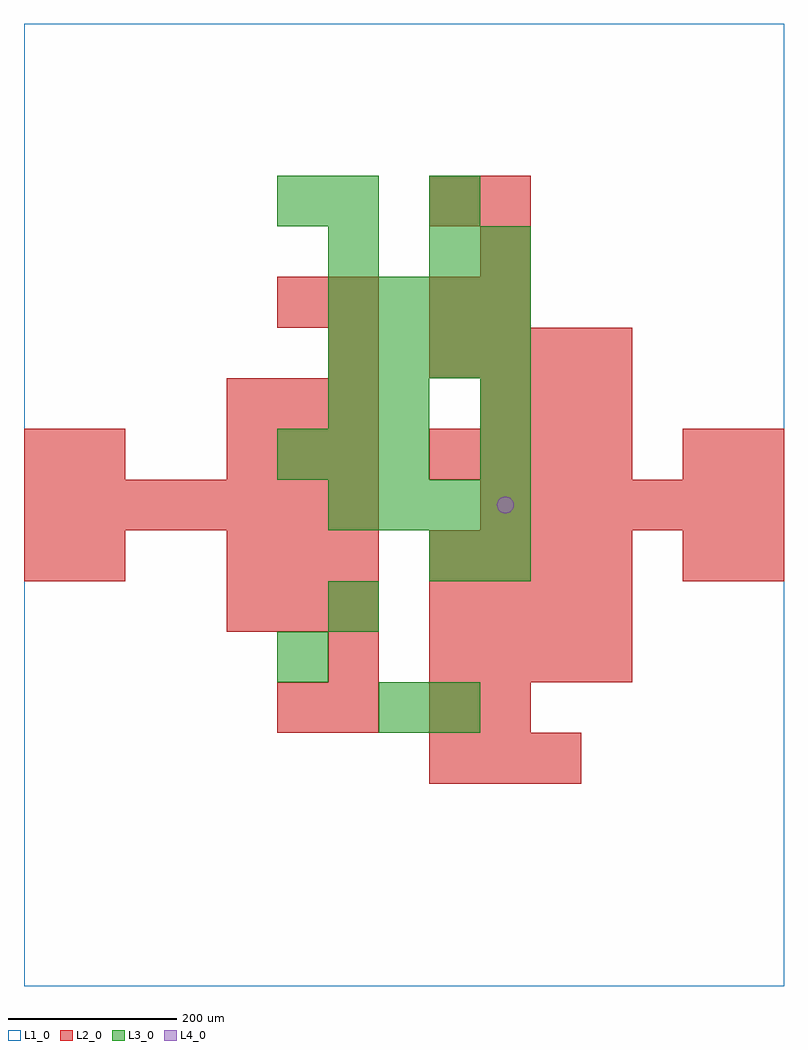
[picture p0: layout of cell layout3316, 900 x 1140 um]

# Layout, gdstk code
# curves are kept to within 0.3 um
import gdstk
lib = gdstk.Library(unit=1e-6, precision=1e-09)
def R(c, l, rs):  # rectangles x0, y0, x1, y1
    for r in rs: c.add(gdstk.rectangle(r[:2], r[2:], *l))
def A(c, l, x, y, w, h, nx, ny, dx, dy):  # array of equal rectangles
    R(c, l, [(x+i*dx, y+j*dy, x+i*dx+w, y+j*dy+h) for i in range(nx) for j in range(ny)])
def P(c, l, *ps):  # polygons
    for p in ps: c.add(gdstk.Polygon(p, *l))
L1_0 = (1, 0)
L2_0 = (2, 0)
L3_0 = (3, 0)
L4_0 = (4, 0)

layout3316 = lib.new_cell('layout3316')
R(layout3316, L1_0, [(0,0,900,1140)])
A(layout3316, L2_0, 480, 240, 60, 60, 3, 1, 60, 0)
A(layout3316, L2_0, 480, 360, 60, 60, 4, 3, 60, 60)
A(layout3316, L2_0, 240, 420, 60, 60, 3, 2, 60, 60)
A(layout3316, L2_0, 0, 540, 60, 60, 7, 1, 60, 0)
A(layout3316, L2_0, 540, 540, 60, 60, 6, 1, 60, 0)
A(layout3316, L2_0, 240, 600, 60, 60, 3, 2, 60, 60)
A(layout3316, L2_0, 480, 600, 60, 60, 4, 2, 60, 120)
A(layout3316, L2_0, 540, 660, 60, 60, 3, 1, 60, 0)
A(layout3316, L2_0, 540, 780, 60, 60, 1, 3, 0, 60)
R(layout3316, L2_0, [(300,300,360,360), (360,300,420,360), (480,300,540,360), (540,300,600,360), (360,360,420,420), (0,480,60,540), (60,480,120,540), (780,480,840,540), (840,480,900,540), (0,600,60,660), (60,600,120,660), (780,600,840,660), (840,600,900,660), (360,720,420,780), (300,780,360,840), (360,780,420,840), (480,780,540,840), (480,900,540,960)])
A(layout3316, L3_0, 360, 540, 60, 60, 4, 2, 60, 180)
A(layout3316, L3_0, 300, 600, 60, 60, 3, 1, 60, 0)
A(layout3316, L3_0, 360, 780, 60, 60, 4, 1, 60, 0)
R(layout3316, L3_0, [(420,300,480,360), (480,300,540,360), (300,360,360,420), (360,420,420,480), (480,480,540,540), (540,480,600,540), (540,600,600,660), (360,660,420,720), (420,660,480,720), (540,660,600,720), (360,840,420,900), (480,840,540,900), (540,840,600,900), (300,900,360,960), (360,900,420,960), (480,900,540,960)])
P(layout3316, L4_0, [(580,570),(579.239,573.827),(577.071,577.071),(573.827,579.239),(570,580),(566.173,579.239),(562.929,577.071),(560.761,573.827),(560,570),(560.761,566.173),(562.929,562.929),(566.173,560.761),(570,560),(573.827,560.761),(577.071,562.929),(579.239,566.173)])

lib.write_gds('layout3316.gds')
